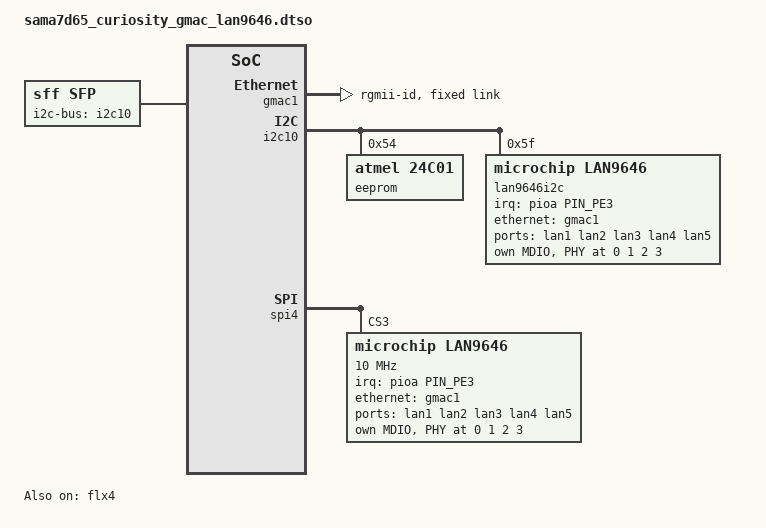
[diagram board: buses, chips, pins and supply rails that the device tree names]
// SPDX-License-Identifier: (GPL-2.0+ OR MIT)
/*
 * Device Tree file for SAMA7D65 CURIOSITY board overlay blob supporting the
 * LAN9646 6-port Gigabit switch Daughter Card using I2C or SPI and RGMII.
 *
 * Copyright (C) 2025 Microchip Technology Inc. and its subsidiaries
 *
 * Author: Jerry Ray <jerry.ray@microchip.com>
 *
 * Refer to the EV94T99A (LAN9646-EDS2 daughter card)
 *
 */
/dts-v1/;
/plugin/;
#include "sama7d65-pinfunc.h"
#include <dt-bindings/mfd/atmel-flexcom.h>
#include <dt-bindings/clock/at91.h>
#include <dt-bindings/pinctrl/at91.h>
#include <dt-bindings/gpio/gpio.h>
#include <dt-bindings/interrupt-controller/irq.h>

&{/}
{
	model = "Microchip SAMA7D65 Curiosity LAN9646 Gigabit Switch";

	sfp: sfp {
		compatible = "sff,sfp";
		i2c-bus = <&i2c10>;
	};
};

&flx4 {
	atmel,flexcom-mode = <ATMEL_FLEXCOM_MODE_SPI>;
	status = "okay";
};

&gmac1 {
	pinctrl-names = "default";
	pinctrl-0 = <&pinctrl_gmac1_default
		     &pinctrl_gmac1_mdc_default
		     &pinctrl_gmac1_mdio_default
		     &pinctrl_gmac1_txck_default
		     &pinctrl_gmac1_phy_irq>;
	phy-mode = "rgmii-id";
	status = "okay";

	fixed-link {
		speed = <1000>;
		full-duplex;
		pause;
	};

	ethernet-phy@1 {
		status = "disabled";
	};
};

&i2c10 {
	#address-cells = <1>;
	#size-cells = <0>;
	dmas = <0>, <0>;
	status = "okay";

	eeprom@54 {
		compatible = "atmel,24c01";
		reg = <0x54>;
		pagesize = <8>;
		status = "okay";
	};

	lan9646i2c: lan9646i-switch@5f {
		compatible = "microchip,lan9646";
		reg = <0x5f>;
		interrupt-parent = <&pioa>;
		interrupts = <PIN_PE3 IRQ_TYPE_LEVEL_LOW>;
		status = "okay";

		ports {
			#address-cells = <1>;
			#size-cells = <0>;
			port@0 {
				reg = <0>;
				label = "lan1";
				phy-handle = <&swphy_0>;
			};
			port@1 {
				reg = <1>;
				label = "lan2";
				phy-handle = <&swphy_1>;
			};
			port@2 {
				reg = <2>;
				label = "lan3";
				phy-handle = <&swphy_2>;
			};
			port@3 {
				reg = <3>;
				label = "lan4";
				phy-handle = <&swphy_3>;
			};
			port@4 {
				reg = <5>;
				phy-mode = "rgmii-id";
				rx-internal-delay-ps = <2000>;
				tx-internal-delay-ps = <2000>;
				ethernet = <&gmac1>;

				fixed-link {
					speed = <1000>;
					full-duplex;
					pause;
				};
			};
			port@5 {
				reg = <6>;
				label = "lan5";
				phy-mode = "sgmii";
				sfp = <&sfp>;
				managed = "in-band-status";
			};
		};
		mdio {
			#address-cells = <1>;
			#size-cells = <0>;
			swphy_0: ethernet-phy@0 {
				reg = <0>;
				eee-broken-100tx;
				eee-broken-1000t;
			};
			swphy_1: ethernet-phy@1 {
				reg = <1>;
				eee-broken-100tx;
				eee-broken-1000t;
			};
			swphy_2: ethernet-phy@2 {
				reg = <2>;
				eee-broken-100tx;
				eee-broken-1000t;
			};
			swphy_3: ethernet-phy@3 {
				reg = <3>;
				eee-broken-100tx;
				eee-broken-1000t;
			};
		};
	};
};

&pioa {
	pinctrl_spi4_default: spi4-default{
		pinmux = <PIN_PA18__FLEXCOM4_IO0>,	/* MOSI */
			 <PIN_PA17__FLEXCOM4_IO1>,	/* MISO */
			 <PIN_PA16__FLEXCOM4_IO2>,	/* SPCK */
			 <PIN_PA15__FLEXCOM4_IO3>,	/* CS0 */
			 <PIN_PA14__FLEXCOM4_IO4>,	/* CS1 */
			 <PIN_PA19__FLEXCOM4_IO5>,	/* CS2 */
			 <PIN_PA20__FLEXCOM4_IO6>;	/* CS3 */
		bias-disable;
	};
};

&spi4 {
	#address-cells = <1>;
	#size-cells = <0>;
	pinctrl-names = "default";
	pinctrl-0 = <&pinctrl_spi4_default>;
	status = "okay";

	lan9646: lan9646-switch@3 {
		compatible = "microchip,lan9646";
		reg = <3>;
		interrupt-parent = <&pioa>;
		interrupts = <PIN_PE3 IRQ_TYPE_LEVEL_LOW>;
		spi-max-frequency = <10000000>;		/* 10MHz until proven */
		spi-cpha;
		spi-cpol;
		status = "okay";

		ports {
			#address-cells = <1>;
			#size-cells = <0>;
			port@0 {
				reg = <0>;
				label = "lan1";
				phy-handle = <&swphy0>;
			};
			port@1 {
				reg = <1>;
				label = "lan2";
				phy-handle = <&swphy1>;
			};
			port@2 {
				reg = <2>;
				label = "lan3";
				phy-handle = <&swphy2>;
			};
			port@3 {
				reg = <3>;
				label = "lan4";
				phy-handle = <&swphy3>;
			};
			port@4 {
				reg = <5>;
				phy-mode = "rgmii-id";
				rx-internal-delay-ps = <2000>;
				tx-internal-delay-ps = <2000>;
				ethernet = <&gmac1>;
				fixed-link {
					speed = <1000>;
					full-duplex;
					pause;
				};
			};
			port@5 {
				reg = <6>;
				label = "lan5";
				phy-mode = "sgmii";
				sfp = <&sfp>;
				managed = "in-band-status";
			};
		};
		mdio {
			#address-cells = <1>;
			#size-cells = <0>;
			swphy0: ethernet-phy@0 {
				reg = <0>;
				eee-broken-100tx;
				eee-broken-1000t;
			};
			swphy1: ethernet-phy@1 {
				reg = <1>;
				eee-broken-100tx;
				eee-broken-1000t;
			};
			swphy2: ethernet-phy@2 {
				reg = <2>;
				eee-broken-100tx;
				eee-broken-1000t;
			};
			swphy3: ethernet-phy@3 {
				reg = <3>;
				eee-broken-100tx;
				eee-broken-1000t;
			};
		};
	};
};
